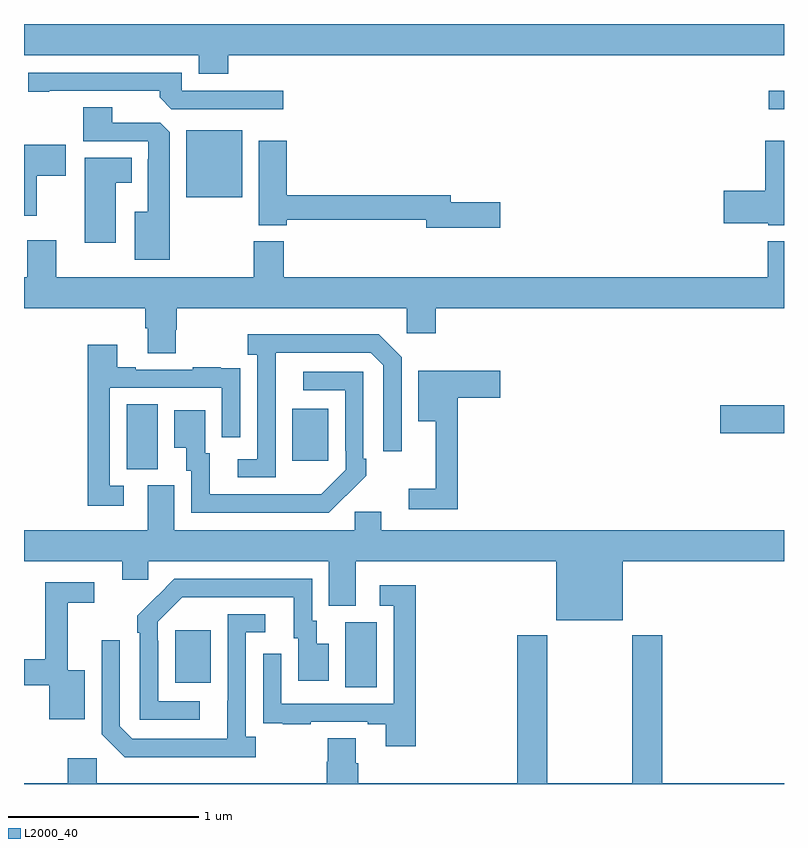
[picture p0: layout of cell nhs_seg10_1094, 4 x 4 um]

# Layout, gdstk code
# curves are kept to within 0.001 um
import gdstk
lib = gdstk.Library(unit=1e-6, precision=1e-09)
def R(c, l, rs):  # rectangles x0, y0, x1, y1
    for r in rs: c.add(gdstk.rectangle(r[:2], r[2:], *l))
def P(c, l, *ps):  # polygons
    for p in ps: c.add(gdstk.Polygon(p, *l))
L2000_40 = (2000, 40)

nhs_seg10_1094 = lib.new_cell('nhs_seg10_1094')
R(nhs_seg10_1094, L2000_40, [(168.692,1277.008,168.856,1277.352), (167.795,1277.033,167.983,1277.308), (167.54,1278.157,167.704,1278.5), (168.413,1278.201,168.601,1278.475), (170.664,1278.347,171,1278.494), (167.855,1279.589,168.148,1279.942), (170.919,1280.052,171,1280.148)])
P(nhs_seg10_1094, L2000_40, [(168.074,1280.336),(171,1280.336),(171,1280.5),(167,1280.5),(167,1280.336),(167.921,1280.336),(167.921,1280.237),(168.074,1280.237)],
  [(168.364,1280.148),(167.829,1280.148),(167.829,1280.244),(167.022,1280.244),(167.022,1280.143),(167.134,1280.143),(167.134,1280.148),(167.714,1280.148),(167.714,1280.114),(167.775,1280.052),(168.364,1280.052)],
  [(167.767,1279.931),(167.718,1279.98),(167.464,1279.98),(167.464,1280.063),(167.312,1280.063),(167.312,1279.884),(167.655,1279.884),(167.655,1279.787),(167.651,1279.787),(167.651,1279.513),(167.582,1279.513),(167.582,1279.259),(167.767,1279.259)],
  [(169.507,1279.562),(169.246,1279.562),(169.246,1279.598),(168.383,1279.598),(168.383,1279.885),(168.236,1279.885),(168.236,1279.442),(168.383,1279.442),(168.383,1279.47),(169.118,1279.47),(169.118,1279.427),(169.507,1279.427)],
  [(171,1279.885),(170.9,1279.885),(170.9,1279.622),(170.682,1279.622),(170.682,1279.451),(170.916,1279.451),(170.916,1279.442),(171,1279.442)],
  [(167.068,1279.702),(167.221,1279.702),(167.221,1279.864),(167,1279.864),(167,1279.491),(167.068,1279.491)],
  [(167.482,1279.664),(167.566,1279.664),(167.566,1279.795),(167.321,1279.795),(167.321,1279.35),(167.482,1279.35)],
  [(167.799,1278.891),(167.804,1278.891),(167.804,1279.004),(169.014,1279.004),(169.014,1278.873),(169.166,1278.873),(169.166,1279.004),(171,1279.004),(171,1279.357),(170.915,1279.357),(170.915,1279.168),(168.368,1279.168),(168.368,1279.357),(168.208,1279.357),(168.208,1279.168),(167.17,1279.168),(167.17,1279.363),(167.018,1279.363),(167.018,1279.168),(167,1279.168),(167,1279.004),(167.639,1279.004),(167.639,1278.898),(167.651,1278.898),(167.651,1278.766),(167.799,1278.766)],
  [(168.324,1278.571),(168.325,1278.771),(168.825,1278.771),(168.891,1278.705),(168.891,1278.252),(168.987,1278.252),(168.987,1278.747),(168.866,1278.868),(168.177,1278.868),(168.177,1278.758),(168.228,1278.758),(168.228,1278.21),(168.126,1278.21),(168.126,1278.114),(168.324,1278.114)],
  [(167.524,1278.069),(167.451,1278.069),(167.451,1278.585),(168.042,1278.585),(168.042,1278.324),(168.138,1278.324),(168.138,1278.578),(168.137,1278.578),(168.137,1278.687),(168.035,1278.687),(168.035,1278.694),(167.887,1278.694),(167.887,1278.681),(167.587,1278.681),(167.587,1278.694),(167.491,1278.694),(167.491,1278.811),(167.335,1278.811),(167.335,1277.964),(167.524,1277.964)],
  [(169.283,1278.533),(169.507,1278.533),(169.507,1278.675),(169.076,1278.675),(169.076,1278.41),(169.166,1278.41),(169.166,1278.055),(169.026,1278.055),(169.026,1277.946),(169.283,1277.946)],
  [(168.695,1278.019),(168.696,1278.018),(168.801,1278.123),(168.801,1278.211),(168.786,1278.211),(168.786,1278.669),(168.471,1278.669),(168.471,1278.573),(168.69,1278.573),(168.69,1278.253),(168.693,1278.253),(168.693,1278.153),(168.565,1278.025),(167.977,1278.024),(167.977,1278.24),(167.953,1278.24),(167.953,1278.466),(167.792,1278.466),(167.792,1278.269),(167.855,1278.269),(167.855,1278.15),(167.88,1278.15),(167.88,1277.928),(168.604,1277.928)],
  [(170.152,1277.672),(171,1277.672),(171,1277.836),(168.88,1277.836),(168.88,1277.934),(168.741,1277.934),(168.741,1277.836),(167.791,1277.836),(167.791,1278.072),(167.651,1278.072),(167.651,1277.836),(167,1277.836),(167,1277.672),(167.516,1277.672),(167.516,1277.574),(167.655,1277.574),(167.655,1277.672),(168.605,1277.672),(168.605,1277.437),(168.745,1277.437),(168.745,1277.672),(169.802,1277.672),(169.802,1277.363),(170.152,1277.363)],
  [(167.926,1276.935),(167.706,1276.935),(167.706,1277.255),(167.703,1277.255),(167.703,1277.355),(167.832,1277.484),(168.419,1277.484),(168.419,1277.268),(168.443,1277.268),(168.443,1277.043),(168.604,1277.043),(168.604,1277.239),(168.541,1277.239),(168.541,1277.358),(168.516,1277.358),(168.516,1277.58),(167.792,1277.58),(167.595,1277.385),(167.595,1277.297),(167.61,1277.297),(167.61,1276.839),(167.926,1276.839)],
  [(167.32,1277.098),(167.231,1277.098),(167.231,1277.454),(167.371,1277.454),(167.371,1277.562),(167.113,1277.562),(167.113,1277.156),(167,1277.156),(167,1277.02),(167.133,1277.02),(167.133,1276.841),(167.32,1276.841)],
  [(169.061,1277.545),(168.873,1277.545),(168.873,1277.439),(168.945,1277.439),(168.945,1276.923),(168.354,1276.923),(168.354,1277.185),(168.258,1277.185),(168.258,1276.93),(168.259,1276.93),(168.259,1276.821),(168.361,1276.821),(168.361,1276.815),(168.509,1276.815),(168.509,1276.827),(168.809,1276.827),(168.809,1276.815),(168.905,1276.815),(168.905,1276.698),(169.061,1276.698)],
  [(168.22,1276.75),(168.168,1276.75),(168.168,1277.298),(168.271,1277.298),(168.271,1277.394),(168.072,1277.394),(168.071,1276.737),(167.571,1276.737),(167.505,1276.803),(167.505,1277.257),(167.409,1277.257),(167.409,1276.761),(167.53,1276.64),(168.22,1276.64)],
  [(169.595,1277.284),(169.595,1276.504),(168.758,1276.504),(168.758,1276.61),(168.745,1276.61),(168.745,1276.742),(168.598,1276.742),(168.598,1276.617),(168.593,1276.617),(168.593,1276.504),(167.382,1276.504),(167.382,1276.636),(167.231,1276.636),(167.231,1276.504),(167,1276.504),(167,1276.5),(171,1276.5),(171,1276.504),(170.36,1276.504),(170.36,1277.284),(170.2,1277.284),(170.2,1276.504),(169.755,1276.504),(169.755,1277.284)])

lib.write_gds('nhs_seg10_1094.gds')
